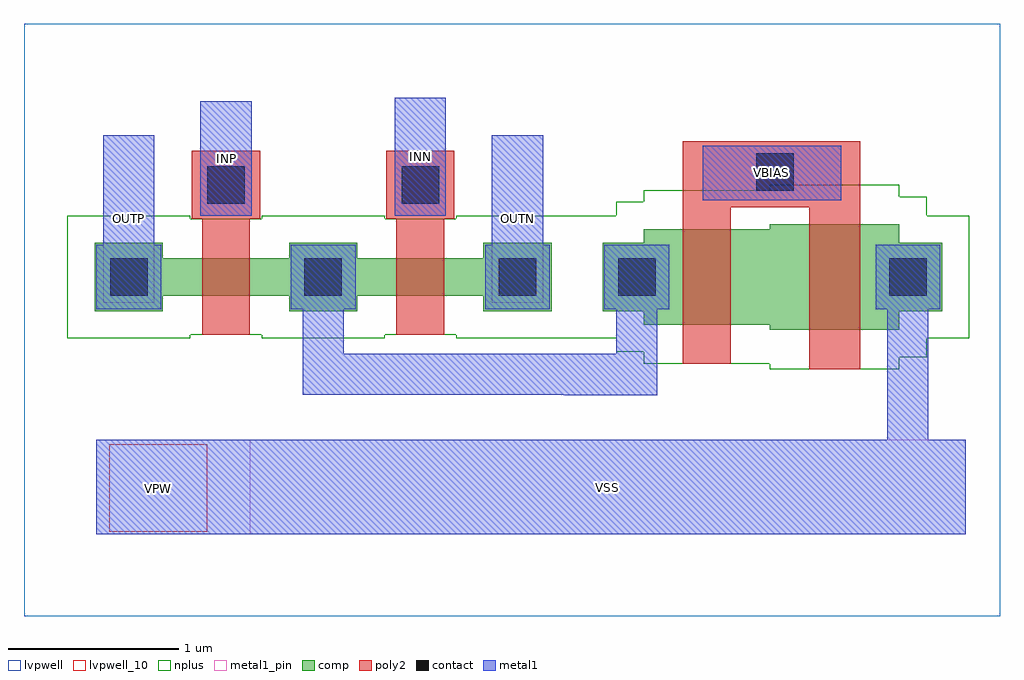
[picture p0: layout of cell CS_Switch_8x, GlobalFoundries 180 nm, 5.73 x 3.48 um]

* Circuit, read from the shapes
.subckt CS_Switch_8x INN INP OUTN OUTP VBIAS VSS
XM1 n1 INP OUTP VSUBS nfet_03v3 w=0.22u l=0.28u
XM2 OUTN INN n1 VSUBS nfet_03v3 w=0.22u l=0.28u
XM3 n2 VBIAS n1 VSUBS nfet_03v3 w=0.56u l=0.28u
XM4 VSS VBIAS n2 VSUBS nfet_03v3 w=0.62u l=0.3u
.ends

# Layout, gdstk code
import gdstk
lib = gdstk.Library(unit=1e-6, precision=1e-09)
def R(c, l, rs):  # rectangles x0, y0, x1, y1
    for r in rs: c.add(gdstk.rectangle(r[:2], r[2:], *l))
def A(c, l, x, y, w, h, nx, ny, dx, dy):  # array of equal rectangles
    R(c, l, [(x+i*dx, y+j*dy, x+i*dx+w, y+j*dy+h) for i in range(nx) for j in range(ny)])
comp = (22, 0)
poly2 = (30, 0)
nplus = (32, 0)
contact = (33, 0)
metal1 = (34, 0)
metal1_pin = (34, 10)
lvpwell = (204, 0)
lvpwell_10 = (204, 10)

cs_switch_8x = lib.new_cell('CS_Switch_8x')
A(cs_switch_8x, comp, 3.01, 6.91, 0.4, 0.09, 3, 2, 1.14, 0.31)
R(cs_switch_8x, comp, [(6.97,6.8,7.73,6.83), (6.23,6.83,7.73,6.91), (5.99,6.91,7.98,7.31), (3.01,7,5.69,7.22), (6.23,7.31,7.73,7.39), (6.97,7.39,7.73,7.42)])
R(cs_switch_8x, poly2, [(7.2,6.57,7.5,7.52), (6.46,6.6,6.74,7.52), (3.64,6.77,3.92,7.45), (4.78,6.77,5.06,7.45), (3.58,7.45,3.98,7.85), (4.72,7.45,5.12,7.85), (6.46,7.52,7.5,7.905)])
R(cs_switch_8x, nplus, [(6.97,6.57,7.73,6.6), (6.23,6.6,7.73,6.64), (6.23,6.64,7.89,6.67), (6.07,6.67,7.89,6.75), (2.85,6.75,3.57,6.77), (3.99,6.75,4.71,6.77), (5.13,6.75,8.14,6.77), (2.85,6.77,8.14,7.45), (2.85,7.45,3.57,7.47), (3.99,7.45,4.71,7.47), (5.13,7.45,8.14,7.47), (6.07,7.47,7.89,7.55), (6.23,7.55,7.89,7.58), (6.23,7.58,7.73,7.62), (6.97,7.62,7.73,7.65)])
A(cs_switch_8x, contact, 3.1, 7, 0.22, 0.22, 3, 1, 1.14, 0)
R(cs_switch_8x, contact, [(6.08,7,6.3,7.22), (7.67,7,7.89,7.22), (3.67,7.54,3.89,7.76), (4.81,7.54,5.03,7.76), (6.89,7.615,7.11,7.835)])
A(cs_switch_8x, metal1, 3.02, 6.92, 0.38, 0.38, 3, 1, 1.14, 0)
R(cs_switch_8x, metal1, [(3.02,5.6,8.12,6.155), (7.66,6.155,7.9,6.92), (5.76,6.415,6.31,6.42), (4.23,6.42,6.31,6.66), (4.23,6.66,4.47,6.92), (6.07,6.66,6.31,6.92), (6,6.92,6.38,7.3), (7.59,6.92,7.97,7.3), (3.06,7.3,3.36,7.94), (5.34,7.3,5.64,7.94), (3.63,7.47,3.93,8.14), (4.77,7.47,5.07,8.16), (6.575,7.56,7.39,7.88)])
R(cs_switch_8x, metal1_pin, [(3.92,5.6,8.12,6.155), (3.06,6.96,3.36,7.94), (5.34,6.96,5.64,7.94), (3.63,7.47,3.93,8.14), (4.77,7.47,5.07,8.16), (6.575,7.56,7.39,7.88)])
R(cs_switch_8x, lvpwell, [(2.595,5.12,8.32,8.595)])
R(cs_switch_8x, lvpwell_10, [(3.095,5.615,3.67,6.13)])
cs_switch_8x.add(gdstk.Label('INP', (3.78,7.805), layer=34, texttype=10))
cs_switch_8x.add(gdstk.Label('INN', (4.92,7.815), layer=34, texttype=10))
cs_switch_8x.add(gdstk.Label('OUTP', (3.21,7.45), layer=34, texttype=10))
cs_switch_8x.add(gdstk.Label('OUTN', (5.49,7.45), layer=34, texttype=10))
cs_switch_8x.add(gdstk.Label('VBIAS', (6.982,7.72), layer=34, texttype=10))
cs_switch_8x.add(gdstk.Label('VSS', (6.02,5.877), layer=34, texttype=10))
cs_switch_8x.add(gdstk.Label('VPW', (3.382,5.872), layer=204, texttype=10))

lib.write_gds('CS_Switch_8x.gds')
